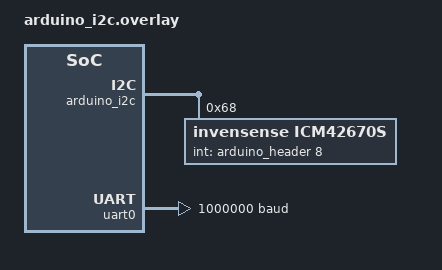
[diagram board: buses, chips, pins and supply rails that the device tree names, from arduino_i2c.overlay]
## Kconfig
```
# Copyright (c) 2020, TDK Invensense
# SPDX-License-Identifier: Apache-2.0

# Enable APEX features support and choose between : 
# ICM42670S_APEX_PEDOMETER, ICM42670S_APEX_TILT, ICM42670S_APEX_SMD or ICM42670S_APEX_WOM

config ICM42670S_APEX
	default y

choice APEX_FEATURES
    default ICM42670S_APEX_PEDOMETER
endchoice

source "Kconfig.zephyr"
```

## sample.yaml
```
sample:
  name: ICM42670S Sensor APEX sample
tests:
  sample.sensor.icm42670S:
    build_only: true
    tags: sensors
    integration_platforms:
      - nrf52dk_nrf52832
```

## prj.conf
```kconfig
#
# Copyright (c) 2019 TDK Invensense
#
# SPDX-License-Identifier: Apache-2.0
#

CONFIG_SENSOR=y

CONFIG_LOG=y
CONFIG_LOG_PRINTK=y
CONFIG_SENSOR_LOG_LEVEL_DBG=n

# Floating point format support
# Selecting this increases stack size requirements slightly, but increases code size significantly.
CONFIG_CBPRINTF_FP_SUPPORT=y
```

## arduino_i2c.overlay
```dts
/*
 * Copyright (c) 2020, TDK Invensense
 *
 * SPDX-License-Identifier: Apache-2.0
 */

/*
 * Example configuration of a ICM42670S device on an Arduino I2C bus.
 *
 * Device address 0x68 is assumed. Your device may have a different
 * address; check your device documentation if unsure.
 */
&arduino_i2c {
	status = "okay";
	icm42670S@68 {
		compatible = "invensense,icm42670S";
		reg = <0x68>;
		int-gpios = <&arduino_header 8 GPIO_ACTIVE_HIGH>; /* D2 */
		
		power-mode = "low power";
		accel-hz = <25>;
		gyro-hz = <0>;
		accel-avg = <2>;
	};
};

/*
 * Increase native UART speed to report all IMU data at 100Hz.
 */
&uart0 {
	compatible = "nordic,nrf-uarte";
	status = "okay";
	current-speed = <1000000>;
};
```

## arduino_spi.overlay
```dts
/*
 * Copyright (c) 2020, TDK Invensense
 *
 * SPDX-License-Identifier: Apache-2.0
 */

/* Example configuration of a ICM42670S device on an Arduino SPI bus. */
&arduino_spi {
	status = "okay";
	cs-gpios = <&arduino_header 14 GPIO_ACTIVE_LOW>; /* D8 */
	icm42670S@0 {
		compatible = "invensense,icm42670S";
		reg = <0>;
		spi-max-frequency = <1000000>; /* conservatively set to 1MHz */
		int-gpios = <&arduino_header 8 GPIO_ACTIVE_HIGH>; /* D2 */
		
		power-mode = "low power";
		accel-hz = <25>;
		gyro-hz = <0>;
		accel-avg = <2>;
	};
};

/*
 * Increase native UART speed to report all IMU data at 100Hz.
 */
&uart0 {
	compatible = "nordic,nrf-uarte";
	status = "okay";
	current-speed = <1000000>;
};
```

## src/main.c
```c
/*
 * Copyright (c) 2020 TDK Invensense
 *
 * SPDX-License-Identifier: Apache-2.0
 */

#include <zephyr/kernel.h>
#include <zephyr/device.h>
#include <zephyr/devicetree.h>
#include <zephyr/drivers/sensor.h>
#include <zephyr/drivers/sensor/icm42670S.h>
#include <stdio.h>

static struct sensor_trigger data_trigger;

/* Flag set from IMU device irq handler */
static volatile int irq_from_device = 0;

/*
 * Get a device structure from a devicetree node with compatible
 * "invensense,icm42670S". (If there are multiple, just pick one.)
 */
static const struct device *get_icm42670S_device(void)
{
	const struct device *const dev = DEVICE_DT_GET_ANY(invensense_icm42670s);

	if (dev == NULL) {
		/* No such node, or the node does not have status "okay". */
		printk("\nError: no device found.\n");
		return NULL;
	}

	if (!device_is_ready(dev)) {
		printk("\nError: Device \"%s\" is not ready; "
		       "check the driver initialization logs for errors.\n",
		       dev->name);
		return NULL;
	}

	printk("Found device \"%s\", getting sensor data\n", dev->name);
	return dev;
}

#if defined(CONFIG_ICM42670S_APEX_PEDOMETER) || defined(CONFIG_ICM42670S_APEX_TILT) ||             \
	defined(CONFIG_ICM42670S_APEX_WOM) || defined(CONFIG_ICM42670S_APEX_SMD)
static const char *now_str(void)
{
	static char buf[16]; /* ...HH:MM:SS.MMM */
	uint32_t now = k_uptime_get_32();
	unsigned int ms = now % MSEC_PER_SEC;
	unsigned int s;
	unsigned int min;
	unsigned int h;

	now /= MSEC_PER_SEC;
	s = now % 60U;
	now /= 60U;
	min = now % 60U;
	now /= 60U;
	h = now;

	snprintf(buf, sizeof(buf), "%u:%02u:%02u.%03u", h, min, s, ms);
	return buf;
}
#endif

static void handle_icm42670S_drdy(const struct device *dev, const struct sensor_trigger *trig)
{
	if (trig->type == SENSOR_TRIG_MOTION) {
		int rc = sensor_sample_fetch_chan(dev, trig->chan);

		if (rc < 0) {
			printf("sample fetch failed: %d\n", rc);
			printf("cancelling trigger due to failure: %d\n", rc);
			(void)sensor_trigger_set(dev, trig, NULL);
			return;
		} else if (rc == 0) {
			irq_from_device = 1;
		}
	}
}

int main(void)
{
	const struct device *dev = get_icm42670S_device();
	struct sensor_value apex_mode;

	if (dev == NULL) {
		return 0;
	}

	/* Setting APEX Pedometer feature */
#ifdef CONFIG_ICM42670S_APEX_PEDOMETER
	apex_mode.val1 = ICM42670S_APEX_PEDOMETER;
#endif
#ifdef CONFIG_ICM42670S_APEX_TILT
	apex_mode.val1 = ICM42670S_APEX_TILT;
#endif
#ifdef CONFIG_ICM42670S_APEX_WOM
	apex_mode.val1 = ICM42670S_APEX_WOM;
#endif
#ifdef CONFIG_ICM42670S_APEX_SMD
	apex_mode.val1 = ICM42670S_APEX_SMD;
#endif
	apex_mode.val2 = 0;
	sensor_attr_set(dev, SENSOR_CHAN_APEX_MOTION, SENSOR_ATTR_CONFIGURATION, &apex_mode);

	data_trigger = (struct sensor_trigger){
		.type = SENSOR_TRIG_MOTION,
		.chan = SENSOR_CHAN_APEX_MOTION,
	};
	if (sensor_trigger_set(dev, &data_trigger, handle_icm42670S_drdy) < 0) {
		printf("Cannot configure data trigger!!!\n");
		return 0;
	}

	printf("Configured for APEX data collecting.\n");

	k_sleep(K_MSEC(1000));

	while (1) {

		if (irq_from_device) {
#ifdef CONFIG_ICM42670S_APEX_PEDOMETER
			struct sensor_value apex_pedometer[3];
			sensor_channel_get(dev, SENSOR_CHAN_APEX_MOTION, apex_pedometer);

			printf("[%s]: STEP_DET     count: %d steps  cadence: %.1f steps/s  "
			       "activity: %s\n",
			       now_str(), apex_pedometer[0].val1,
			       sensor_value_to_double(&apex_pedometer[2]),
			       apex_pedometer[1].val1 == 1   ? "Walk"
			       : apex_pedometer[1].val1 == 2 ? "Run"
							     : "Unknown");
#endif
#ifdef CONFIG_ICM42670S_APEX_TILT
			printf("[%s]: TILT\n", now_str());
#endif
#ifdef CONFIG_ICM42670S_APEX_WOM
			struct sensor_value apex_wom[3];
			sensor_channel_get(dev, SENSOR_CHAN_APEX_MOTION, apex_wom);

			printf("[%s]: WOM x=%d y=%d z=%d\n", now_str(), apex_wom[0].val1,
			       apex_wom[1].val1, apex_wom[2].val1);
#endif
#ifdef CONFIG_ICM42670S_APEX_SMD
			printf("[%s]: SMD\n", now_str());
#endif
			irq_from_device = 0;
		}
	}
	return 0;
}
```
